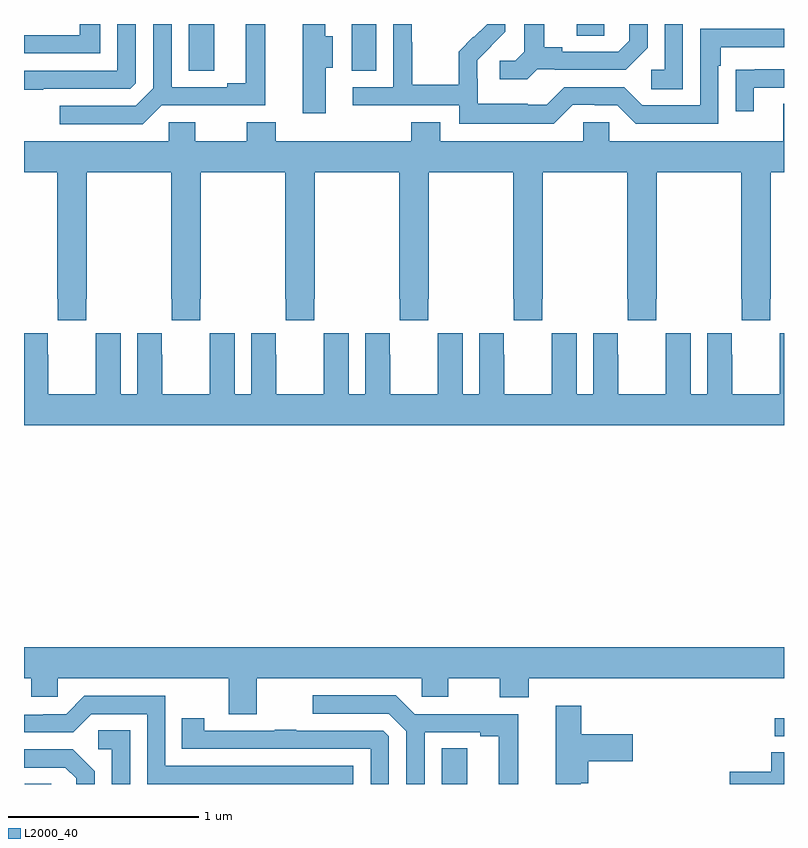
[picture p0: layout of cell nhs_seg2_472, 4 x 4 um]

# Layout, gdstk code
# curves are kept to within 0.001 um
import gdstk
lib = gdstk.Library(unit=1e-6, precision=1e-09)
def R(c, l, rs):  # rectangles x0, y0, x1, y1
    for r in rs: c.add(gdstk.rectangle(r[:2], r[2:], *l))
def P(c, l, *ps):  # polygons
    for p in ps: c.add(gdstk.Polygon(p, *l))
L2000_40 = (2000, 40)

nhs_seg2_472 = lib.new_cell('nhs_seg2_472')
R(nhs_seg2_472, L2000_40, [(135.005,593.8,135.144,593.801), (137.198,593.8,137.332,593.987), (138.951,594.051,139,594.147), (135.866,597.553,136,597.8), (136.724,597.553,136.855,597.8), (137.909,597.739,138.054,597.8)])
P(nhs_seg2_472, L2000_40, [(135.101,597.459),(135.558,597.459),(135.588,597.489),(135.588,597.8),(135.492,597.8),(135.492,597.555),(135,597.555),(135,597.454),(135.101,597.454)],
  [(136.588,597.571),(136.624,597.571),(136.624,597.736),(136.585,597.736),(136.585,597.8),(136.466,597.8),(136.466,597.33),(136.588,597.33)],
  [(138.468,597.8),(138.372,597.8),(138.372,597.558),(138.3,597.558),(138.3,597.457),(138.468,597.457)],
  [(135.724,597.372),(136.27,597.372),(136.27,597.8),(136.166,597.8),(136.166,597.488),(136.07,597.488),(136.07,597.468),(135.777,597.468),(135.777,597.8),(135.681,597.8),(135.681,597.462),(135.588,597.369),(135.189,597.369),(135.189,597.273),(135.625,597.273)],
  [(137.7,597.561),(137.794,597.561),(137.794,597.558),(138.166,597.558),(138.282,597.674),(138.282,597.8),(138.185,597.8),(138.185,597.711),(138.128,597.654),(137.833,597.654),(137.833,597.677),(137.737,597.677),(137.737,597.8),(137.633,597.8),(137.633,597.653),(137.586,597.606),(137.505,597.606),(137.505,597.509),(137.648,597.509)],
  [(135.402,597.8),(135.294,597.8),(135.294,597.742),(135.039,597.742),(135.039,597.741),(135,597.741),(135,597.645),(135.402,597.645)],
  [(137.889,597.375),(138.005,597.375),(138.005,597.372),(138.123,597.372),(138.219,597.276),(138.654,597.276),(138.654,597.581),(138.667,597.581),(138.667,597.678),(139,597.678),(139,597.774),(138.558,597.774),(138.558,597.372),(138.255,597.372),(138.159,597.468),(137.844,597.468),(137.751,597.375),(137.651,597.375),(137.651,597.379),(137.388,597.379),(137.388,597.513),(137.386,597.513),(137.386,597.61),(137.532,597.758),(137.532,597.8),(137.438,597.8),(137.367,597.729),(137.364,597.732),(137.287,597.655),(137.287,597.481),(137.043,597.481),(137.043,597.704),(137.04,597.704),(137.04,597.8),(136.944,597.8),(136.944,597.468),(136.731,597.468),(136.731,597.372),(137.292,597.372),(137.292,597.275),(137.789,597.275)],
  [(138.841,597.465),(139,597.465),(139,597.561),(138.847,597.561),(138.847,597.56),(138.745,597.56),(138.745,597.342),(138.841,597.342)],
  [(135.327,596.353),(135.33,596.353),(135.33,597.02),(135.775,597.02),(135.775,596.353),(135.777,596.353),(135.777,596.241),(135.927,596.241),(135.927,596.353),(135.93,596.353),(135.93,597.02),(136.375,597.02),(136.375,596.353),(136.377,596.353),(136.377,596.241),(136.527,596.241),(136.527,596.353),(136.53,596.353),(136.53,597.02),(136.975,597.02),(136.975,596.353),(136.977,596.353),(136.977,596.241),(137.127,596.241),(137.127,596.353),(137.13,596.353),(137.13,597.02),(137.575,597.02),(137.575,596.353),(137.577,596.353),(137.577,596.241),(137.727,596.241),(137.727,596.353),(137.73,596.353),(137.73,597.02),(138.175,597.02),(138.175,596.353),(138.177,596.353),(138.177,596.241),(138.327,596.241),(138.327,596.353),(138.33,596.353),(138.33,597.02),(138.775,597.02),(138.775,596.353),(138.777,596.353),(138.777,596.241),(138.927,596.241),(138.927,596.353),(138.93,596.353),(138.93,597.02),(139,597.02),(139,597.379),(138.995,597.379),(138.995,597.184),(138.081,597.184),(138.081,597.282),(137.943,597.282),(137.943,597.184),(137.191,597.184),(137.191,597.283),(137.039,597.283),(137.039,597.184),(136.325,597.184),(136.325,597.283),(136.172,597.283),(136.172,597.184),(135.901,597.184),(135.901,597.282),(135.762,597.282),(135.762,597.184),(135,597.184),(135,597.02),(135.175,597.02),(135.175,596.353),(135.177,596.353),(135.177,596.241),(135.327,596.241)],
  [(139,596.173),(138.978,596.173),(138.978,596.06),(138.977,596.06),(138.977,595.852),(138.727,595.852),(138.727,596.06),(138.726,596.06),(138.726,596.173),(138.596,596.173),(138.596,595.852),(138.508,595.852),(138.508,596.173),(138.378,596.173),(138.378,596.06),(138.377,596.06),(138.377,595.852),(138.127,595.852),(138.127,596.06),(138.126,596.06),(138.126,596.173),(137.996,596.173),(137.996,595.852),(137.908,595.852),(137.908,596.173),(137.778,596.173),(137.778,596.06),(137.777,596.06),(137.777,595.852),(137.527,595.852),(137.527,596.06),(137.526,596.06),(137.526,596.173),(137.396,596.173),(137.396,595.852),(137.308,595.852),(137.308,596.173),(137.178,596.173),(137.178,596.06),(137.177,596.06),(137.177,595.852),(136.927,595.852),(136.927,596.06),(136.926,596.06),(136.926,596.173),(136.796,596.173),(136.796,595.852),(136.708,595.852),(136.708,596.173),(136.578,596.173),(136.578,596.06),(136.577,596.06),(136.577,595.852),(136.327,595.852),(136.327,596.06),(136.326,596.06),(136.326,596.173),(136.196,596.173),(136.196,595.852),(136.108,595.852),(136.108,596.173),(135.978,596.173),(135.978,596.06),(135.977,596.06),(135.977,595.852),(135.727,595.852),(135.727,596.06),(135.726,596.06),(135.726,596.173),(135.596,596.173),(135.596,595.852),(135.508,595.852),(135.508,596.173),(135.378,596.173),(135.378,596.06),(135.377,596.06),(135.377,595.852),(135.127,595.852),(135.127,596.06),(135.126,596.06),(135.126,596.173),(135,596.173),(135,595.688),(139,595.688)],
  [(136.225,594.356),(137.094,594.356),(137.094,594.258),(137.233,594.258),(137.233,594.356),(137.504,594.356),(137.504,594.257),(137.657,594.257),(137.657,594.356),(139,594.356),(139,594.52),(135,594.52),(135,594.356),(135.039,594.356),(135.039,594.258),(135.177,594.258),(135.177,594.356),(136.078,594.356),(136.078,594.166),(136.225,594.166)],
  [(137.109,594.072),(137.402,594.072),(137.402,594.052),(137.498,594.052),(137.498,593.8),(137.602,593.8),(137.602,594.168),(137.056,594.168),(136.957,594.267),(136.521,594.267),(136.521,594.171),(136.92,594.171),(137.013,594.078),(137.013,593.8),(137.109,593.8)],
  [(136.734,593.895),(135.744,593.895),(135.744,594.264),(135.318,594.264),(135.222,594.168),(135.102,594.168),(135.102,594.165),(135,594.165),(135,594.072),(135.258,594.072),(135.354,594.168),(135.648,594.168),(135.648,593.8),(136.734,593.8)],
  [(137.93,593.804),(137.969,593.804),(137.969,593.921),(138.205,593.921),(138.205,594.063),(137.933,594.063),(137.933,594.211),(137.798,594.211),(137.798,593.8),(137.93,593.8)],
  [(136.92,594.051),(136.89,594.081),(136.433,594.081),(136.433,594.086),(136.321,594.086),(136.321,594.081),(135.948,594.081),(135.948,594.145),(135.829,594.145),(135.829,593.985),(136.824,593.985),(136.824,593.8),(136.92,593.8)],
  [(135.558,594.083),(135.39,594.083),(135.39,593.982),(135.462,593.982),(135.462,593.8),(135.558,593.8)],
  [(135.372,593.866),(135.256,593.982),(135,593.982),(135,593.886),(135.218,593.886),(135.275,593.829),(135.275,593.8),(135.372,593.8)],
  [(139,593.966),(138.932,593.966),(138.932,593.864),(138.714,593.864),(138.714,593.8),(139,593.8)])

lib.write_gds('nhs_seg2_472.gds')
